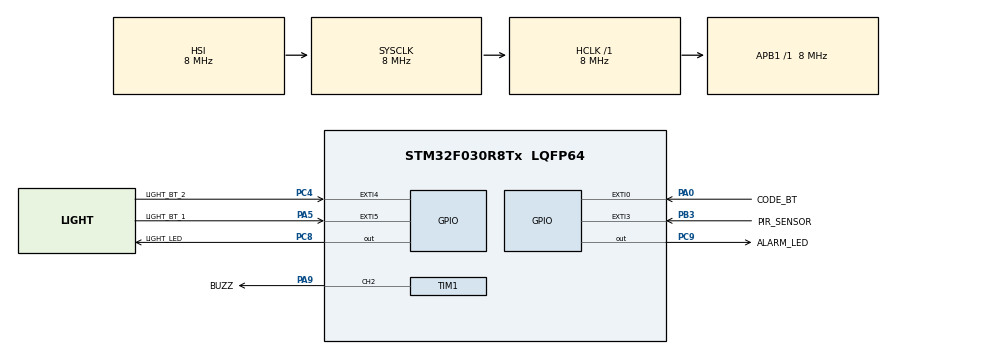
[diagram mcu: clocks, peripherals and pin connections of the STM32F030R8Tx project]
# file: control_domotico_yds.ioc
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FREERTOS.Tasks01=defaultTask,0,128,StartDefaultTask,Default,NULL,Dynamic,NULL,NULL;codeTask,-3,128,StartCodeTask,Default,NULL,Dynamic,NULL,NULL;alarmTask,-3,128,StartAlarmTask,Default,NULL,Dynamic,NULL,NULL;lightsTask,-3,128,StartLightsTask,Default,NULL,Dynamic,NULL,NULL
FREERTOS.configTOTAL_HEAP_SIZE=5000
FREERTOS.configUSE_TIMERS=0
Mcu.Family=STM32F0
Mcu.Name=STM32F030R8Tx
Mcu.Package=LQFP64
NVIC.EXTI0_1_IRQn=true\:3\:0\:false\:false\:true\:true\:true
NVIC.EXTI2_3_IRQn=true\:3\:0\:false\:false\:true\:true\:true
NVIC.EXTI4_15_IRQn=true\:3\:0\:false\:false\:true\:true\:true
NVIC.TIM14_IRQn=true\:3\:0\:false\:false\:true\:true\:true
NVIC.TIM16_IRQn=true\:3\:0\:false\:false\:true\:true\:true
NVIC.TIM17_IRQn=true\:3\:0\:false\:false\:true\:true\:true
NVIC.TIM1_BRK_UP_TRG_COM_IRQn=true\:3\:0\:false\:false\:true\:true\:true
NVIC.TIM1_CC_IRQn=true\:3\:0\:false\:false\:true\:true\:true
NVIC.TIM3_IRQn=true\:3\:0\:false\:false\:true\:true\:true
NVIC.TIM6_IRQn=true\:3\:0\:false\:false\:true\:true\:true
PA0.GPIO_Label=CODE_BT
PA0.GPIO_ModeDefaultEXTI=GPIO_MODE_IT_RISING
PA0.Signal=GPXTI0
PA13.GPIO_Label=SWDIO
PA13.Signal=SYS_SWDIO
PA14.GPIO_Label=SWCLK
PA14.Signal=SYS_SWCLK
PA5.GPIO_Label=LIGHT_BT_1
PA5.GPIO_ModeDefaultEXTI=GPIO_MODE_IT_FALLING
PA5.GPIO_PuPd=GPIO_PULLUP
PA5.Signal=GPXTI5
PA9.GPIO_Label=BUZZ
PA9.Signal=S_TIM1_CH2
PB3.GPIO_Label=PIR_SENSOR
PB3.GPIO_ModeDefaultEXTI=GPIO_MODE_IT_RISING
PB3.GPIO_PuPd=GPIO_PULLDOWN
PB3.Signal=GPXTI3
PC4.GPIO_Label=LIGHT_BT_2
PC4.GPIO_PuPd=GPIO_PULLUP
PC4.Signal=GPXTI4
PC8.GPIO_Label=LIGHT_LED
PC8.Signal=GPIO_Output
PC9.GPIO_Label=ALARM_LED
PC9.Signal=GPIO_Output
ProjectManager.HeapSize=0x200
ProjectManager.StackSize=0x400
ProjectManager.TargetToolchain=SW4STM32
RCC.AHBFreq_Value=8000000
RCC.APB1Freq_Value=8000000
RCC.APB1TimFreq_Value=8000000
RCC.HCLKFreq_Value=8000000
RCC.PLLMUL=RCC_PLL_MUL12
RCC.SYSCLKFreq_VALUE=8000000
SH.S_TIM1_CH2.0=TIM1_CH2,PWM Generation2 CH2
TIM1.Channel-PWM\ Generation2\ CH2=TIM_CHANNEL_2
TIM1.Period=10
TIM1.Prescaler=4799
TIM1.Pulse-PWM\ Generation2\ CH2=5
TIM14.AutoReloadPreload=TIM_AUTORELOAD_PRELOAD_ENABLE
TIM14.Period=200
TIM14.Prescaler=47999
TIM15.Period=10000
TIM15.Prescaler=48
TIM16.Period=2999
TIM16.Prescaler=47999
TIM17.Period=9
TIM17.Prescaler=47999
TIM17.RepetitionCounter=19
TIM3.AutoReloadPreload=TIM_AUTORELOAD_PRELOAD_DISABLE
TIM3.Period=1999
TIM3.Prescaler=47999
TIM6.AutoReloadPreload=TIM_AUTORELOAD_PRELOAD_DISABLE
TIM6.Period=29
TIM6.Prescaler=47999
VP_FREERTOS_VS_ENABLE.Mode=Enabled
VP_TIM14_VS_ClockSourceINT.Mode=Enable_Timer
VP_TIM15_VS_ClockSourceINT.Mode=Internal
VP_TIM16_VS_ClockSourceINT.Mode=Enable_Timer
VP_TIM17_VS_ClockSourceINT.Mode=Enable_Timer
VP_TIM3_VS_ClockSourceINT.Mode=Internal
VP_TIM3_VS_OPM.Mode=OPM_bit
VP_TIM6_VS_ClockSourceINT.Mode=Enable_Timer
board=STM32F0308-DISCO

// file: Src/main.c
/**
  ******************************************************************************
  * @file           : main.c
  * @brief          : Main program body
  ******************************************************************************
  * This notice applies to any and all portions of this file
  * that are not between comment pairs USER CODE BEGIN and
  * USER CODE END. Other portions of this file, whether
  * inserted by the user or by software development tools
  * are owned by their respective copyright owners.
  *
  * Copyright (c) 2018 STMicroelectronics International N.V.
  * All rights reserved.
  *
  * Redistribution and use in source and binary forms, with or without
  * modification, are permitted, provided that the following conditions are met:
  *
  * 1. Redistribution of source code must retain the above copyright notice,
  *    this list of conditions and the following disclaimer.
  * 2. Redistributions in binary form must reproduce the above copyright notice,
  *    this list of conditions and the following disclaimer in the documentation
  *    and/or other materials provided with the distribution.
  * 3. Neither the name of STMicroelectronics nor the names of other
  *    contributors to this software may be used to endorse or promote products
  *    derived from this software without specific written permission.
  * 4. This software, including modifications and/or derivative works of this
  *    software, must execute solely and exclusively on microcontroller or
  *    microprocessor devices manufactured by or for STMicroelectronics.
  * 5. Redistribution and use of this software other than as permitted under
  *    this license is void and will automatically terminate your rights under
  *    this license.
  *
  * THIS SOFTWARE IS PROVIDED BY STMICROELECTRONICS AND CONTRIBUTORS "AS IS"
  * AND ANY EXPRESS, IMPLIED OR STATUTORY WARRANTIES, INCLUDING, BUT NOT
  * LIMITED TO, THE IMPLIED WARRANTIES OF MERCHANTABILITY, FITNESS FOR A
  * PARTICULAR PURPOSE AND NON-INFRINGEMENT OF THIRD PARTY INTELLECTUAL PROPERTY
  * RIGHTS ARE DISCLAIMED TO THE FULLEST EXTENT PERMITTED BY LAW. IN NO EVENT
  * SHALL STMICROELECTRONICS OR CONTRIBUTORS BE LIABLE FOR ANY DIRECT, INDIRECT,
  * INCIDENTAL, SPECIAL, EXEMPLARY, OR CONSEQUENTIAL DAMAGES (INCLUDING, BUT NOT
  * LIMITED TO, PROCUREMENT OF SUBSTITUTE GOODS OR SERVICES; LOSS OF USE, DATA,
  * OR PROFITS; OR BUSINESS INTERRUPTION) HOWEVER CAUSED AND ON ANY THEORY OF
  * LIABILITY, WHETHER IN CONTRACT, STRICT LIABILITY, OR TORT (INCLUDING
  * NEGLIGENCE OR OTHERWISE) ARISING IN ANY WAY OUT OF THE USE OF THIS SOFTWARE,
  * EVEN IF ADVISED OF THE POSSIBILITY OF SUCH DAMAGE.
  *
  ******************************************************************************
  */
#include "main.h"
#include "stm32f0xx_hal.h"
#include "cmsis_os.h"

/* USER CODE BEGIN Includes */
#include "fsm.h"
#include "lights_fsm.h"
#include "alarm_fsm.h"
#include "code_fsm.h"

/* USER CODE END Includes */

TIM_HandleTypeDef htim1;
TIM_HandleTypeDef htim3;
TIM_HandleTypeDef htim6;
TIM_HandleTypeDef htim14;
TIM_HandleTypeDef htim15;
TIM_HandleTypeDef htim16;
TIM_HandleTypeDef htim17;

osThreadId defaultTaskHandle;
osThreadId codeTaskHandle;
osThreadId alarmTaskHandle;
osThreadId lightsTaskHandle;

/* USER CODE BEGIN PV */
/* Private variables ---------------------------------------------------------*/
uint8_t system_flags = 0x00;
fsm_t* alarm_fsm;
fsm_t* light_fsm;
fsm_t*  code_fsm;
uint32_t code_now,code_prev, code_diff;
uint32_t alarm_now,alarm_prev, alarm_diff;
uint32_t lights_now,lights_prev, lights_diff;
/* USER CODE END PV */

void SystemClock_Config(void);
static void MX_GPIO_Init(void);
static void MX_TIM1_Init(void);
static void MX_TIM6_Init(void);
static void MX_TIM14_Init(void);
static void MX_TIM16_Init(void);
static void MX_TIM17_Init(void);
static void MX_TIM3_Init(void);
static void MX_TIM15_Init(void);
void StartDefaultTask(void const * argument);
void StartCodeTask(void const * argument);
void StartAlarmTask(void const * argument);
void StartLightsTask(void const * argument);
void HAL_TIM_MspPostInit(TIM_HandleTypeDef *htim);

/* USER CODE BEGIN PFP */
/* Private function prototypes -----------------------------------------------*/

/* USER CODE END PFP */

int main(void)
{

  /* MCU Configuration----------------------------------------------------------*/

  /* Reset of all peripherals, Initializes the Flash interface and the Systick. */
  HAL_Init();

  /* Configure the system clock */
  SystemClock_Config();

  /* Initialize all configured peripherals */
  MX_GPIO_Init();
  MX_TIM1_Init();
  MX_TIM6_Init();
  MX_TIM14_Init();
  MX_TIM16_Init();
  MX_TIM17_Init();
  MX_TIM3_Init();
  MX_TIM15_Init();
  /* USER CODE BEGIN 2 */
  alarm_fsm =   new_alarm_fsm();
  light_fsm =  new_lights_fsm();
  code_fsm =    new_code_fsm();
  alarm_code[0] = 1;
  alarm_code[1] = 2;
  alarm_code[2] = 3;

 for (int i = 0; i < 3; i++)
 	code_in[i] = 0;

  digit_count = 0;
  bt_timer_timeout = 0;
  /* USER CODE END 2 */

  /* Create the thread(s) */
  /* definition and creation of defaultTask */
  osThreadDef(defaultTask, StartDefaultTask, osPriorityNormal, 0, 128);
  defaultTaskHandle = osThreadCreate(osThread(defaultTask), NULL);

  /* definition and creation of codeTask */
  osThreadDef(codeTask, StartCodeTask, osPriorityIdle, 0, 128);
  codeTaskHandle = osThreadCreate(osThread(codeTask), NULL);

  /* definition and creation of alarmTask */
  osThreadDef(alarmTask, StartAlarmTask, osPriorityIdle, 0, 128);
  alarmTaskHandle = osThreadCreate(osThread(alarmTask), NULL);

  /* definition and creation of lightsTask */
  osThreadDef(lightsTask, StartLightsTask, osPriorityIdle, 0, 128);
  lightsTaskHandle = osThreadCreate(osThread(lightsTask), NULL);

  /* Start scheduler */
  osKernelStart();

  /* We should never get here as control is now taken by the scheduler */

  /* Infinite loop */
  while (1)
  {

  }

}

void SystemClock_Config(void)
{

  RCC_OscInitTypeDef RCC_OscInitStruct;
  RCC_ClkInitTypeDef RCC_ClkInitStruct;

    /**Initializes the CPU, AHB and APB busses clocks
    */
  RCC_OscInitStruct.OscillatorType = RCC_OSCILLATORTYPE_HSI;
  RCC_OscInitStruct.HSIState = RCC_HSI_ON;
  RCC_OscInitStruct.HSICalibrationValue = 16;
  RCC_OscInitStruct.PLL.PLLState = RCC_PLL_NONE;
  if (HAL_RCC_OscConfig(&RCC_OscInitStruct) != HAL_OK)
  {
    _Error_Handler(__FILE__, __LINE__);
  }

    /**Initializes the CPU, AHB and APB busses clocks
    */
  RCC_ClkInitStruct.ClockType = RCC_CLOCKTYPE_HCLK|RCC_CLOCKTYPE_SYSCLK
                              |RCC_CLOCKTYPE_PCLK1;
  RCC_ClkInitStruct.SYSCLKSource = RCC_SYSCLKSOURCE_HSI;
  RCC_ClkInitStruct.AHBCLKDivider = RCC_SYSCLK_DIV1;
  RCC_ClkInitStruct.APB1CLKDivider = RCC_HCLK_DIV1;

  if (HAL_RCC_ClockConfig(&RCC_ClkInitStruct, FLASH_LATENCY_0) != HAL_OK)
  {
    _Error_Handler(__FILE__, __LINE__);
  }

    /**Configure the Systick interrupt time
    */
  HAL_SYSTICK_Config(HAL_RCC_GetHCLKFreq()/1000);

    /**Configure the Systick
    */
  HAL_SYSTICK_CLKSourceConfig(SYSTICK_CLKSOURCE_HCLK);

  /* SysTick_IRQn interrupt configuration */
  HAL_NVIC_SetPriority(SysTick_IRQn, 3, 0);
}

/* TIM1 init function */
static void MX_TIM1_Init(void)
{

  TIM_MasterConfigTypeDef sMasterConfig;
  TIM_OC_InitTypeDef sConfigOC;
  TIM_BreakDeadTimeConfigTypeDef sBreakDeadTimeConfig;

  htim1.Instance = TIM1;
  htim1.Init.Prescaler = 4799;
  htim1.Init.CounterMode = TIM_COUNTERMODE_UP;
  htim1.Init.Period = 10;
  htim1.Init.ClockDivision = TIM_CLOCKDIVISION_DIV1;
  htim1.Init.RepetitionCounter = 0;
  htim1.Init.AutoReloadPreload = TIM_AUTORELOAD_PRELOAD_DISABLE;
  if (HAL_TIM_PWM_Init(&htim1) != HAL_OK)
  {
    _Error_Handler(__FILE__, __LINE__);
  }

  sMasterConfig.MasterOutputTrigger = TIM_TRGO_RESET;
  sMasterConfig.MasterSlaveMode = TIM_MASTERSLAVEMODE_DISABLE;
  if (HAL_TIMEx_MasterConfigSynchronization(&htim1, &sMasterConfig) != HAL_OK)
  {
    _Error_Handler(__FILE__, __LINE__);
  }

  sConfigOC.OCMode = TIM_OCMODE_PWM1;
  sConfigOC.Pulse = 5;
  sConfigOC.OCPolarity = TIM_OCPOLARITY_HIGH;
  sConfigOC.OCNPolarity = TIM_OCNPOLARITY_HIGH;
  sConfigOC.OCFastMode = TIM_OCFAST_DISABLE;
  sConfigOC.OCIdleState = TIM_OCIDLESTATE_RESET;
  sConfigOC.OCNIdleState = TIM_OCNIDLESTATE_RESET;
  if (HAL_TIM_PWM_ConfigChannel(&htim1, &sConfigOC, TIM_CHANNEL_2) != HAL_OK)
  {
    _Error_Handler(__FILE__, __LINE__);
  }

  sBreakDeadTimeConfig.OffStateRunMode = TIM_OSSR_DISABLE;
  sBreakDeadTimeConfig.OffStateIDLEMode = TIM_OSSI_DISABLE;
  sBreakDeadTimeConfig.LockLevel = TIM_LOCKLEVEL_OFF;
  sBreakDeadTimeConfig.DeadTime = 0;
  sBreakDeadTimeConfig.BreakState = TIM_BREAK_DISABLE;
  sBreakDeadTimeConfig.BreakPolarity = TIM_BREAKPOLARITY_HIGH;
  sBreakDeadTimeConfig.AutomaticOutput = TIM_AUTOMATICOUTPUT_DISABLE;
  if (HAL_TIMEx_ConfigBreakDeadTime(&htim1, &sBreakDeadTimeConfig) != HAL_OK)
  {
    _Error_Handler(__FILE__, __LINE__);
  }

  HAL_TIM_MspPostInit(&htim1);

}

/* TIM3 init function */
static void MX_TIM3_Init(void)
{

  TIM_ClockConfigTypeDef sClockSourceConfig;
  TIM_MasterConfigTypeDef sMasterConfig;

  htim3.Instance = TIM3;
  htim3.Init.Prescaler = 47999;
  htim3.Init.CounterMode = TIM_COUNTERMODE_UP;
  htim3.Init.Period = 1999;
  htim3.Init.ClockDivision = TIM_CLOCKDIVISION_DIV1;
  htim3.Init.AutoReloadPreload = TIM_AUTORELOAD_PRELOAD_DISABLE;
  if (HAL_TIM_Base_Init(&htim3) != HAL_OK)
  {
    _Error_Handler(__FILE__, __LINE__);
  }

  sClockSourceConfig.ClockSource = TIM_CLOCKSOURCE_INTERNAL;
  if (HAL_TIM_ConfigClockSource(&htim3, &sClockSourceConfig) != HAL_OK)
  {
    _Error_Handler(__FILE__, __LINE__);
  }

  if (HAL_TIM_OnePulse_Init(&htim3, TIM_OPMODE_SINGLE) != HAL_OK)
  {
    _Error_Handler(__FILE__, __LINE__);
  }

  sMasterConfig.MasterOutputTrigger = TIM_TRGO_RESET;
  sMasterConfig.MasterSlaveMode = TIM_MASTERSLAVEMODE_DISABLE;
  if (HAL_TIMEx_MasterConfigSynchronization(&htim3, &sMasterConfig) != HAL_OK)
  {
    _Error_Handler(__FILE__, __LINE__);
  }

}

/* TIM6 init function */
static void MX_TIM6_Init(void)
{

  htim6.Instance = TIM6;
  htim6.Init.Prescaler = 47999;
  htim6.Init.CounterMode = TIM_COUNTERMODE_UP;
  htim6.Init.Period = 29;
  htim6.Init.AutoReloadPreload = TIM_AUTORELOAD_PRELOAD_DISABLE;
  if (HAL_TIM_Base_Init(&htim6) != HAL_OK)
  {
    _Error_Handler(__FILE__, __LINE__);
  }

}

/* TIM14 init function */
static void MX_TIM14_Init(void)
{

  htim14.Instance = TIM14;
  htim14.Init.Prescaler = 47999;
  htim14.Init.CounterMode = TIM_COUNTERMODE_UP;
  htim14.Init.Period = 200;
  htim14.Init.ClockDivision = TIM_CLOCKDIVISION_DIV1;
  htim14.Init.AutoReloadPreload = TIM_AUTORELOAD_PRELOAD_ENABLE;
  if (HAL_TIM_Base_Init(&htim14) != HAL_OK)
  {
    _Error_Handler(__FILE__, __LINE__);
  }

}

/* TIM15 init function */
static void MX_TIM15_Init(void)
{

  TIM_ClockConfigTypeDef sClockSourceConfig;
  TIM_MasterConfigTypeDef sMasterConfig;

  htim15.Instance = TIM15;
  htim15.Init.Prescaler = 48;
  htim15.Init.CounterMode = TIM_COUNTERMODE_UP;
  htim15.Init.Period = 10000;
  htim15.Init.ClockDivision = TIM_CLOCKDIVISION_DIV1;
  htim15.Init.RepetitionCounter = 0;
  htim15.Init.AutoReloadPreload = TIM_AUTORELOAD_PRELOAD_DISABLE;
  if (HAL_TIM_Base_Init(&htim15) != HAL_OK)
  {
    _Error_Handler(__FILE__, __LINE__);
  }

  sClockSourceConfig.ClockSource = TIM_CLOCKSOURCE_INTERNAL;
  if (HAL_TIM_ConfigClockSource(&htim15, &sClockSourceConfig) != HAL_OK)
  {
    _Error_Handler(__FILE__, __LINE__);
  }

  sMasterConfig.MasterOutputTrigger = TIM_TRGO_RESET;
  sMasterConfig.MasterSlaveMode = TIM_MASTERSLAVEMODE_DISABLE;
  if (HAL_TIMEx_MasterConfigSynchronization(&htim15, &sMasterConfig) != HAL_OK)
  {
    _Error_Handler(__FILE__, __LINE__);
  }

}

/* TIM16 init function */
static void MX_TIM16_Init(void)
{

  htim16.Instance = TIM16;
  htim16.Init.Prescaler = 47999;
  htim16.Init.CounterMode = TIM_COUNTERMODE_UP;
  htim16.Init.Period = 2999;
  htim16.Init.ClockDivision = TIM_CLOCKDIVISION_DIV1;
  htim16.Init.RepetitionCounter = 0;
  htim16.Init.AutoReloadPreload = TIM_AUTORELOAD_PRELOAD_DISABLE;
  if (HAL_TIM_Base_Init(&htim16) != HAL_OK)
  {
    _Error_Handler(__FILE__, __LINE__);
  }

}

/* TIM17 init function */
static void MX_TIM17_Init(void)
{

  htim17.Instance = TIM17;
  htim17.Init.Prescaler = 47999;
  htim17.Init.CounterMode = TIM_COUNTERMODE_UP;
  htim17.Init.Period = 9;
  htim17.Init.ClockDivision = TIM_CLOCKDIVISION_DIV1;
  htim17.Init.RepetitionCounter = 19;
  htim17.Init.AutoReloadPreload = TIM_AUTORELOAD_PRELOAD_DISABLE;
  if (HAL_TIM_Base_Init(&htim17) != HAL_OK)
  {
    _Error_Handler(__FILE__, __LINE__);
  }

}

/** Configure pins as
        * Analog
        * Input
        * Output
        * EVENT_OUT
        * EXTI
*/
static void MX_GPIO_Init(void)
{

  GPIO_InitTypeDef GPIO_InitStruct;

  /* GPIO Ports Clock Enable */
  __HAL_RCC_GPIOA_CLK_ENABLE();
  __HAL_RCC_GPIOC_CLK_ENABLE();
  __HAL_RCC_GPIOB_CLK_ENABLE();

  /*Configure GPIO pin Output Level */
  HAL_GPIO_WritePin(GPIOC, LIGHT_LED_Pin|ALARM_LED_Pin, GPIO_PIN_RESET);

  /*Configure GPIO pin : CODE_BT_Pin */
  GPIO_InitStruct.Pin = CODE_BT_Pin;
  GPIO_InitStruct.Mode = GPIO_MODE_IT_RISING;
  GPIO_InitStruct.Pull = GPIO_NOPULL;
  HAL_GPIO_Init(CODE_BT_GPIO_Port, &GPIO_InitStruct);

  /*Configure GPIO pin : LIGHT_BT_1_Pin */
  GPIO_InitStruct.Pin = LIGHT_BT_1_Pin;
  GPIO_InitStruct.Mode = GPIO_MODE_IT_FALLING;
  GPIO_InitStruct.Pull = GPIO_PULLUP;
  HAL_GPIO_Init(LIGHT_BT_1_GPIO_Port, &GPIO_InitStruct);

  /*Configure GPIO pin : LIGHT_BT_2_Pin */
  GPIO_InitStruct.Pin = LIGHT_BT_2_Pin;
  GPIO_InitStruct.Mode = GPIO_MODE_IT_RISING;
  GPIO_InitStruct.Pull = GPIO_PULLUP;
  HAL_GPIO_Init(LIGHT_BT_2_GPIO_Port, &GPIO_InitStruct);

  /*Configure GPIO pins : LIGHT_LED_Pin ALARM_LED_Pin */
  GPIO_InitStruct.Pin = LIGHT_LED_Pin|ALARM_LED_Pin;
  GPIO_InitStruct.Mode = GPIO_MODE_OUTPUT_PP;
  GPIO_InitStruct.Pull = GPIO_NOPULL;
  GPIO_InitStruct.Speed = GPIO_SPEED_FREQ_LOW;
  HAL_GPIO_Init(GPIOC, &GPIO_InitStruct);

  /*Configure GPIO pin : PIR_SENSOR_Pin */
  GPIO_InitStruct.Pin = PIR_SENSOR_Pin;
  GPIO_InitStruct.Mode = GPIO_MODE_IT_RISING;
  GPIO_InitStruct.Pull = GPIO_PULLDOWN;
  HAL_GPIO_Init(PIR_SENSOR_GPIO_Port, &GPIO_InitStruct);

  /* EXTI interrupt init*/
  HAL_NVIC_SetPriority(EXTI0_1_IRQn, 3, 0);
  HAL_NVIC_EnableIRQ(EXTI0_1_IRQn);

  HAL_NVIC_SetPriority(EXTI2_3_IRQn, 3, 0);
  HAL_NVIC_EnableIRQ(EXTI2_3_IRQn);

  HAL_NVIC_SetPriority(EXTI4_15_IRQn, 3, 0);
  HAL_NVIC_EnableIRQ(EXTI4_15_IRQn);

}

/* USER CODE BEGIN 4 */
void HAL_TIM_PeriodElapsedCallback(TIM_HandleTypeDef *htim){

	if(htim->Instance == TIM3){
		bt_timer_timeout = 1;
	}
	if(htim->Instance == TIM16){

		system_flags |= TIMER_FLAG;
	}
	if (htim->Instance == TIM6){ // debounce control luz

		system_flags |= LIGHT_FLAG;
		HAL_TIM_Base_Stop_IT(&htim6);
	}
	if (htim->Instance == TIM17){ // debounce pulsador armado
		system_flags |= BUTTON_FLAG;
		HAL_TIM_Base_Stop_IT(&htim17);
	}
	if (htim->Instance == TIM14){

		system_flags ^= BUZZ_FLAG;
		HAL_GPIO_TogglePin(ALARM_LED_GPIO_Port,ALARM_LED_Pin);

		if ( (__CHECK_FLAG(system_flags,BUZZ_FLAG)) )
			HAL_TIM_PWM_Start(&htim1,TIM_CHANNEL_2);
		else
			HAL_TIM_PWM_Stop(&htim1,TIM_CHANNEL_2);
	}
}

void HAL_GPIO_EXTI_Callback(uint16_t GPIO_Pin){

	if (GPIO_Pin == LIGHT_BT_1_Pin || GPIO_Pin == LIGHT_BT_2_Pin) {
		HAL_TIM_Base_Start_IT(&htim6);
	}
	if (GPIO_Pin == CODE_BT_Pin) {
		HAL_TIM_Base_Start_IT(&htim17);
	}
	if (GPIO_Pin == PIR_SENSOR_Pin){

		if (__CHECK_FLAG(system_flags,ALARM_FLAG)) {
			system_flags |= PIR_FLAG;
		}

	}
}
/* USER CODE END 4 */

/* StartDefaultTask function */
void StartDefaultTask(void const * argument)
{

  for(;;)
  {
    osDelay(1);
  }
}

/* StartCodeTask function */
void StartCodeTask(void const * argument)
{
  /* USER CODE BEGIN StartCodeTask */
  /* Infinite loop */
  for(;;)
  {
	  HAL_TIM_Base_Start(&htim15);
	  code_prev = __HAL_TIM_GET_COUNTER(&htim15);
	  fsm_fire(code_fsm);
	  code_now = __HAL_TIM_GET_COUNTER(&htim15);
	  code_diff = code_now-code_prev;
	  HAL_TIM_Base_Stop(&htim15);
    osDelay(20);
  }
  /* USER CODE END StartCodeTask */
}

/* StartAlarmTask function */
void StartAlarmTask(void const * argument)
{
  /* USER CODE BEGIN StartAlarmTask */
  /* Infinite loop */
  for(;;)
  {
	  HAL_TIM_Base_Start(&htim15);
	  alarm_prev = __HAL_TIM_GET_COUNTER(&htim15);
	  fsm_fire(alarm_fsm);
	  alarm_now = __HAL_TIM_GET_COUNTER(&htim15);
	  alarm_diff = alarm_now-alarm_prev;
	  HAL_TIM_Base_Stop(&htim15);
    osDelay(20);
  }
  /* USER CODE END StartAlarmTask */
}

/* StartLightsTask function */
void StartLightsTask(void const * argument)
{
  /* USER CODE BEGIN StartLightsTask */
  /* Infinite loop */
  for(;;)
  {
//    if(alarm_fsm->current_state == ALM_DISARMED){
//    	fsm_fire(light_fsm);
//    }

	  HAL_TIM_Base_Start(&htim15);
	  lights_prev = __HAL_TIM_GET_COUNTER(&htim15);
	  fsm_fire(light_fsm);
	  lights_now = __HAL_TIM_GET_COUNTER(&htim15);
	  lights_diff = lights_now-lights_prev;
	  HAL_TIM_Base_Stop(&htim15);
	osDelay(100);
  }
  /* USER CODE END StartLightsTask */
}

void _Error_Handler(char *file, int line)
{
  while(1)
  {
  }
}

/************************ (C) COPYRIGHT STMicroelectronics *****END OF FILE****/
